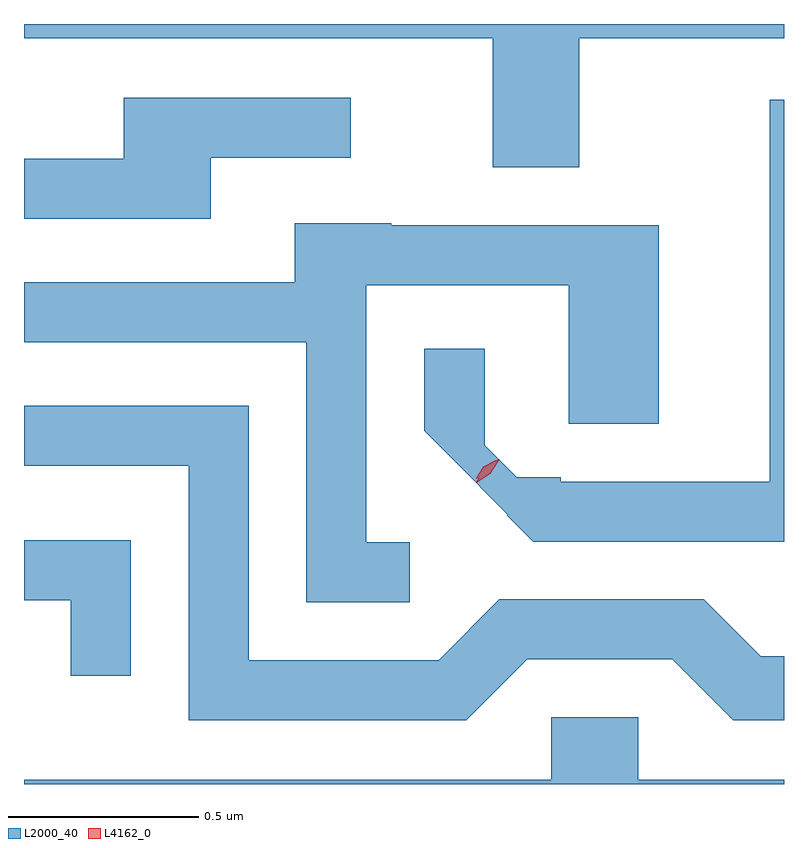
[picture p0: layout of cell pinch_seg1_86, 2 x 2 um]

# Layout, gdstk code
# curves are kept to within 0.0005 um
import gdstk
lib = gdstk.Library(unit=1e-6, precision=1e-09)
def P(c, l, *ps):  # polygons
    for p in ps: c.add(gdstk.Polygon(p, *l))
L2000_40 = (2000, 40)
L4162_0 = (4162, 0)

pinch_seg1_86 = lib.new_cell('pinch_seg1_86')
P(pinch_seg1_86, L2000_40, [(1028.419,841.856),(1028.958,841.856),(1028.958,841.893),(1026.958,841.893),(1026.958,841.856),(1028.191,841.856),(1028.191,841.516),(1028.419,841.516)],
  [(1027.449,841.541),(1027.818,841.541),(1027.818,841.699),(1027.221,841.699),(1027.221,841.539),(1026.958,841.539),(1026.958,841.381),(1027.449,841.381)],
  [(1028.958,841.694),(1028.921,841.694),(1028.921,840.689),(1028.37,840.689),(1028.37,840.7),(1028.255,840.7),(1028.171,840.784),(1028.171,841.038),(1028.011,841.038),(1028.011,840.823),(1028.231,840.602),(1028.229,840.6),(1028.298,840.531),(1028.958,840.531)],
  [(1027.973,840.529),(1027.859,840.529),(1027.859,841.206),(1028.391,841.206),(1028.391,840.841),(1028.629,840.841),(1028.629,841.364),(1027.925,841.364),(1027.925,841.369),(1027.671,841.369),(1027.671,841.214),(1026.958,841.214),(1026.958,841.056),(1027.701,841.056),(1027.701,840.371),(1027.973,840.371)],
  [(1028.282,840.221),(1028.664,840.221),(1028.824,840.061),(1028.958,840.061),(1028.958,840.229),(1028.897,840.229),(1028.747,840.379),(1028.209,840.379),(1028.049,840.219),(1027.549,840.219),(1027.549,840.889),(1026.958,840.889),(1026.958,840.731),(1027.391,840.731),(1027.391,840.061),(1028.122,840.061)],
  [(1027.239,840.534),(1026.958,840.534),(1026.958,840.376),(1027.081,840.376),(1027.081,840.178),(1027.239,840.178)],
  [(1028.958,839.904),(1028.574,839.904),(1028.574,840.069),(1028.346,840.069),(1028.346,839.904),(1026.958,839.904),(1026.958,839.893),(1028.958,839.893)])
P(pinch_seg1_86, L4162_0, [(1028.148,840.686),(1028.148,840.687),(1028.171,840.724),(1028.207,840.747),(1028.208,840.747),(1028.208,840.746),(1028.185,840.71),(1028.149,840.686)],
  [(1028.148,840.696),(1028.148,840.697),(1028.167,840.728),(1028.2,840.745),(1028.201,840.745),(1028.201,840.744),(1028.181,840.713),(1028.148,840.696)])

lib.write_gds('pinch_seg1_86.gds')
